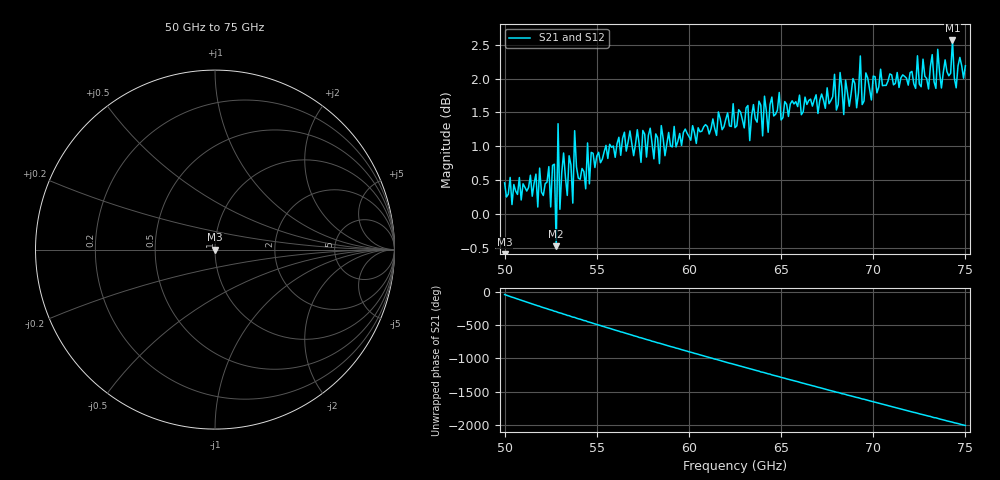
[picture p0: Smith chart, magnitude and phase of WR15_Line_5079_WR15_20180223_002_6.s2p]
# GHZ S RI R 50
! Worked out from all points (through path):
!   251 points, 50 GHz to 75 GHz, reference 50 ohm
!   highest |S21| = 2.56 dB at 74.3 GHz (marker M1); lowest = -0.5 dB at 52.8 GHz (marker M2)
!   lowest |S11| = - dB at 50 GHz (marker M3), VSWR 1.00, Z = 50 + j1.95e-15 ohm
!   |S11| at or under -10 dB: start of sweep to end of sweep
!   |S22| runs from - to - dB; largest |S21 - S12| = 1e-14
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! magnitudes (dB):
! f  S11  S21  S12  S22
! 50 GHz  -  0.5  0.5  -
! 52.4 GHz  -  0.7  0.7  -
! 52.5 GHz  -  0.1  0.1  -
! 52.7 GHz  -  0.7  0.7  -
! 52.8 GHz  -  -0.5  -0.5  -
! 52.9 GHz  -  1.3  1.3  -
! 53 GHz  -  0.1  0.1  -
! 53.2 GHz  -  0.9  0.9  -
! 53.7 GHz  -  0.2  0.2  -
! 53.8 GHz  -  1.2  1.2  -
! 54.2 GHz  -  0.7  0.7  -
! 58.4 GHz  -  0.7  0.7  -
! 58.5 GHz  -  1.3  1.3  -
! 62.5 GHz  -  1.3  1.3  -
! 66.7 GHz  -  1.6  1.6  -
! 70.9 GHz  -  2.1  2.1  -
! 73.4 GHz  -  1.9  1.9  -
! 73.5 GHz  -  2.4  2.4  -
! 73.7 GHz  -  1.9  1.9  -
! 74.3 GHz  -  2.6  2.6  -
! 74.5 GHz  -  1.9  1.9  -
! 75 GHz  -  2.2  2.2  -
